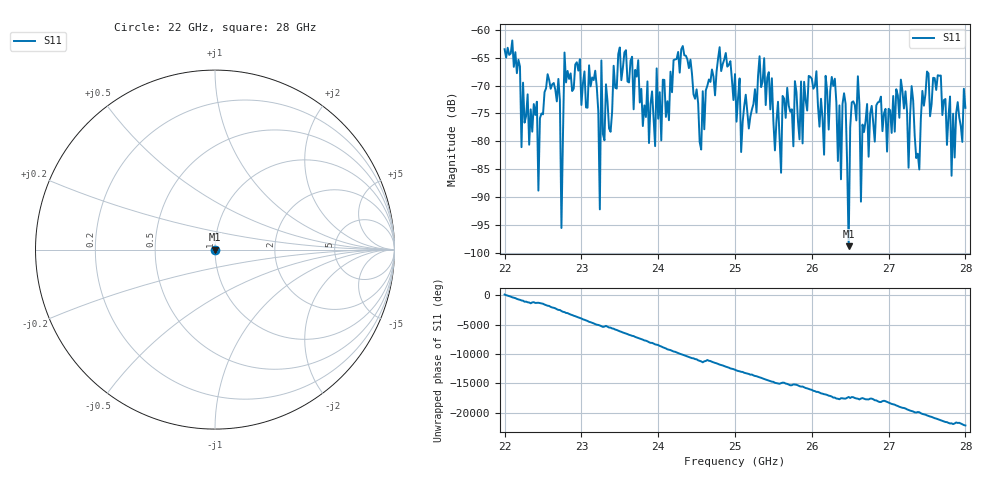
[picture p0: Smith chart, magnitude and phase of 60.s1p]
#  HZ  S  RI  R  50.00
! Rohde & Schwarz ZVA40 4Ports - Version 3.90 - 1145.1110k42 SN: 100403
! Date: 2023-10-04 09:01:13
! Measurement: S12
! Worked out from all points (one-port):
!   301 points, 22 GHz to 28 GHz, reference 50 ohm
!   lowest |S11| = -98.9 dB at 26.48 GHz (marker M1), VSWR 1.00, Z = 50 - j0.000555 ohm
!   |S11| at or under -10 dB: start of sweep to end of sweep
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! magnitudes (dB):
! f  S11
! 22 GHz  -63.5
! 22.2 GHz  -66.6
! 22.22 GHz  -81.1
! 22.56 GHz  -68.0
! 22.76 GHz  -78.9
! 22.78 GHz  -64.1
! 23.18 GHz  -67.3
! 23.24 GHz  -92.2
! 23.26 GHz  -65.5
! 23.3 GHz  -79.8
! 23.5 GHz  -63.2
! 23.88 GHz  -80.3
! 24.26 GHz  -64.0
! 24.54 GHz  -80.2
! 24.8 GHz  -63.1
! 25 GHz  -67.9
! 25.08 GHz  -81.9
! 25.32 GHz  -64.7
! 25.76 GHz  -80.9
! 25.78 GHz  -69.2
! 25.88 GHz  -80.4
! 26.06 GHz  -67.4
! 26.48 GHz  -98.9
! 26.5 GHz  -77.6
! 27.16 GHz  -68.9
! 27.26 GHz  -84.8
! 27.5 GHz  -67.5
! 28 GHz  -74.0
